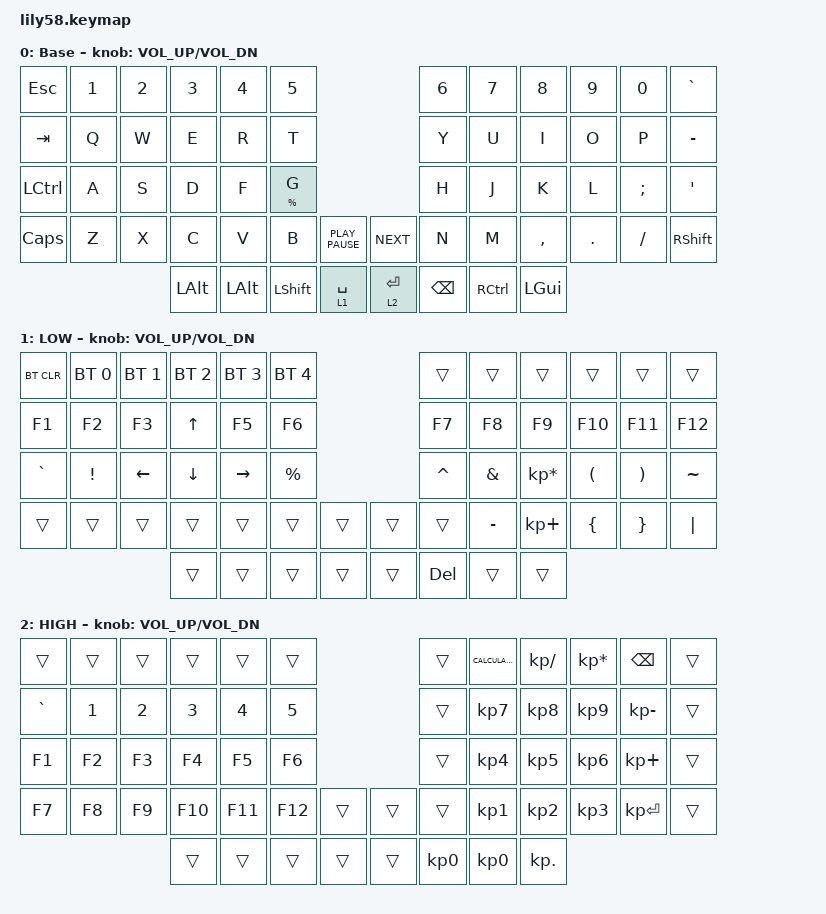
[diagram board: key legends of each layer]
/*
 * Copyright (c) 2020 The ZMK Contributors
 *
 * SPDX-License-Identifier: MIT
 */

#include <behaviors.dtsi>
#include <dt-bindings/zmk/bt.h>
#include <dt-bindings/zmk/keys.h>

/ {
    macros {
        p: p {
            compatible = "zmk,behavior-macro";
            #binding-cells = <0>;
            bindings = <&kp B &kp O &kp N &kp E &kp S &kp L &kp I &kp K &kp E &kp I &kp R &kp O &kp N &kp B &kp L &kp O &kp O &kp D &kp L &kp I &kp K &kp E &kp M &kp E &kp R &kp C &kp U &kp R &kp Y>;
            label = "P";
            wait-ms = <0>;
        };

        nucor: nucor {
            compatible = "zmk,behavior-macro";
            #binding-cells = <0>;
            bindings = <&kp R &kp Y &kp A &kp N &kp DOT &kp G &kp A &kp U &kp V &kp I &kp N &kp TAB &kp LS(R) &kp Y &kp A &kp L &kp Y &kp S &kp S &kp AT &kp N1 &kp N3 &kp ENTER>;
            label = "NUCOR";
        };

        nemail: nemail {
            compatible = "zmk,behavior-macro";
            #binding-cells = <0>;
            bindings = <&kp R &kp Y &kp A &kp N &kp DOT &kp G &kp A &kp U &kp V &kp I &kp N &kp AT &kp N &kp U &kp C &kp O &kp R &kp DOT &kp C &kp O &kp M>;
            label = "NEMAIL";
        };

        gemail: gemail {
            compatible = "zmk,behavior-macro";
            #binding-cells = <0>;
            bindings = <&kp R &kp Y &kp A &kp N &kp DOT &kp E &kp DOT &kp G &kp A &kp U &kp V &kp I &kp N &kp AT &kp G &kp M &kp A &kp I &kp L &kp DOT &kp C &kp O &kp M>;
            label = "GEMAIL";
        };
    };

    behaviors {
        HMR: HMR {
            compatible = "zmk,behavior-hold-tap";
            label = "HMR";
            #binding-cells = <2>;
            bindings = <&kp>, <&kp>;

            tapping-term-ms = <280>;
            quick-tap-ms = <175>;
            flavor = "tap-preferred";
            hold-trigger-on-release;
            hold-trigger-key-positions = <0 1 2 3 4 5 12 13 14 15 16 17 24 25 26 27 28 29 36 37 38 39 40 41 42 50 51 52 53 54 55 56 57>;
        };

        HML: HML {
            compatible = "zmk,behavior-hold-tap";
            label = "HML";
            #binding-cells = <2>;
            bindings = <&kp>, <&kp>;

            tapping-term-ms = <280>;
            quick-tap-ms = <175>;
            flavor = "tap-preferred";
            hold-trigger-on-release;
            hold-trigger-key-positions = <6 7 8 9 10 11 18 19 20 21 22 23 30 31 32 33 34 35 43 44 45 46 47 48 49 54 55 56 57 50 51 52 53>;
        };

        TLB: TLB {
            compatible = "zmk,behavior-hold-tap";
            label = "TLB";
            bindings = <&mo>, <&kp>;

            #binding-cells = <2>;
            flavor = "tap-preferred";
            tapping-term-ms = <280>;
            quick-tap-ms = <175>;
            hold-trigger-key-positions = <50 51 52 53 54 55 56 57>;
        };
    };

    combos {
        compatible = "zmk,combos";

        p_combo {
            bindings = <&p>;
            key-positions = <53 37>;
        };

        Nucor {
            bindings = <&nucor>;
            key-positions = <53 41>;
        };

        nemail {
            bindings = <&nemail>;
            key-positions = <52 41>;
        };

        gemail {
            bindings = <&gemail>;
            key-positions = <40 52>;
        };

        delete {
            bindings = <&kp BACKSPACE>;
            key-positions = <53 28>;
        };
    };

    keymap {
        compatible = "zmk,keymap";

        default_layer {
            // ------------------------------------------------------------------------------------------------------------
            // |  ESC  |  1  |  2  |  3   |  4   |  5   |                   |  6   |  7    |  8    |  9   |   0   |   `   |
            // |  TAB  |  Q  |  W  |  E   |  R   |  T   |                   |  Y   |  U    |  I    |  O   |   P   |   -   |
            // |  CTRL |  A  |  S  |  D   |  F   |  G   |                   |  H   |  J    |  K    |  L   |   ;   |   '   |
            // | SHIFT |  Z  |  X  |  C   |  V   |  B   |   "["  |  |  "]"  |  N   |  M    |  ,    |  .   |   /   | SHIFT |
            //                     | ALT  | GUI  | LOWER|  SPACE |  | ENTER | RAISE| BSPC  | GUI   |

            display-name = "Base";
            bindings = <
&kp ESC    &kp N1  &kp N2  &kp N3    &kp N4        &kp N5                                            &kp N6         &kp N7             &kp N8        &kp N9   &kp N0    &kp GRAVE
&kp TAB    &kp Q   &kp W   &kp E     &kp R         &kp T                                             &kp Y          &kp U              &kp I         &kp O    &kp P     &kp MINUS
&kp LCTRL  &kp A   &kp S   &kp D     &kp F         &HML PERCENT G                                    &kp H          &kp J              &kp K         &kp L    &kp SEMI  &kp SQT
&kp CAPS   &kp Z   &kp X   &kp C     &kp V         &kp B           &kp K_PLAY_PAUSE    &kp C_NEXT    &kp N          &kp M              &kp COMMA     &kp DOT  &kp FSLH  &kp RSHFT
                           &kp LALT  &kp LEFT_ALT  &kp LEFT_SHIFT  &TLB 1 SPACE        &TLB 2 ENTER  &kp BACKSPACE  &kp RIGHT_CONTROL  &kp LEFT_GUI
            >;

            sensor-bindings = <&inc_dec_kp C_VOL_UP C_VOL_DN>;
        };

        lower_layer {
            // ------------------------------------------------------------------------------------------------------------
            // | BTCLR | BT1 | BT2 |  BT3 |  BT4 |  BT5 |                   |      |       |       |      |       |       |
            // |  F1   |  F2 |  F3 |  F4  |  F5  |  F6  |                   |  F7  |  F8   |  F9   |  F10 |  F11  |  F12  |
            // |   `   |  !  |  @  |  #   |  $   |  %   |                   |  ^   |  &    |  *    |  (   |   )   |   ~   |
            // |       |     |     |      |      |      |        |  |       |      |  _    |  +    |  {   |   }   |  "|"  |
            //                     |      |      |      |        |  |       |      |       |       |

            display-name = "LOW";
            bindings = <
&bt BT_CLR  &bt BT_SEL 0  &bt BT_SEL 1  &bt BT_SEL 2  &bt BT_SEL 3  &bt BT_SEL 4                    &trans      &trans     &trans           &trans    &trans    &trans
&kp F1      &kp F2        &kp F3        &kp UP_ARROW  &kp F5        &kp F6                          &kp F7      &kp F8     &kp F9           &kp F10   &kp F11   &kp F12
&kp GRAVE   &kp EXCL      &kp LEFT      &kp DOWN      &kp RIGHT     &kp PRCNT                       &kp CARET   &kp AMPS   &kp KP_MULTIPLY  &kp LPAR  &kp RPAR  &kp TILDE
&trans      &trans        &trans        &trans        &trans        &trans        &trans    &trans  &trans      &kp MINUS  &kp KP_PLUS      &kp LBRC  &kp RBRC  &kp PIPE
                                        &trans        &trans        &trans        &trans    &trans  &kp DELETE  &trans     &trans
            >;

            sensor-bindings = <&inc_dec_kp C_VOL_UP C_VOL_DN>;
        };

        raise_layer {
            // ------------------------------------------------------------------------------------------------------------
            // |       |     |     |      |      |      |                   |      |       |       |      |       |       |
            // |   `   |  1  |  2  |  3   |  4   |  5   |                   |  6   |   7   |   8   |  9   |   0   |       |
            // |   F1  |  F2 |  F3 |  F4  |  F5  |  F6  |                   |      |   <-  |   v   |  ^   |  ->   |       |
            // |   F7  |  F8 |  F9 |  F10 |  F11 |  F12 |        |  |       |  +   |   -   |   =   |  [   |   ]   |   \   |
            //                     |      |      |      |        |  |       |      |       |       |

            display-name = "HIGH";
            bindings = <
&trans     &trans  &trans  &trans   &trans   &trans                     &trans           &kp K_CALCULATOR  &kp KP_DIVIDE    &kp KP_MULTIPLY  &kp BACKSPACE    &trans
&kp GRAVE  &kp N1  &kp N2  &kp N3   &kp N4   &kp N5                     &trans           &kp KP_NUMBER_7   &kp KP_NUMBER_8  &kp KP_NUMBER_9  &kp KP_SUBTRACT  &trans
&kp F1     &kp F2  &kp F3  &kp F4   &kp F5   &kp F6                     &trans           &kp KP_NUMBER_4   &kp KP_NUMBER_5  &kp KP_NUMBER_6  &kp KP_PLUS      &trans
&kp F7     &kp F8  &kp F9  &kp F10  &kp F11  &kp F12  &trans    &trans  &trans           &kp KP_NUMBER_1   &kp KP_NUMBER_2  &kp KP_NUMBER_3  &kp KP_ENTER     &trans
                           &trans   &trans   &trans   &trans    &trans  &kp KP_NUMBER_0  &kp KP_NUMBER_0   &kp KP_DOT
            >;

            sensor-bindings = <&inc_dec_kp C_VOL_UP C_VOL_DN>;
        };

        extra_1 { status = "reserved"; };

        extra_2 { status = "reserved"; };

        extra_3 { status = "reserved"; };
    };
};
